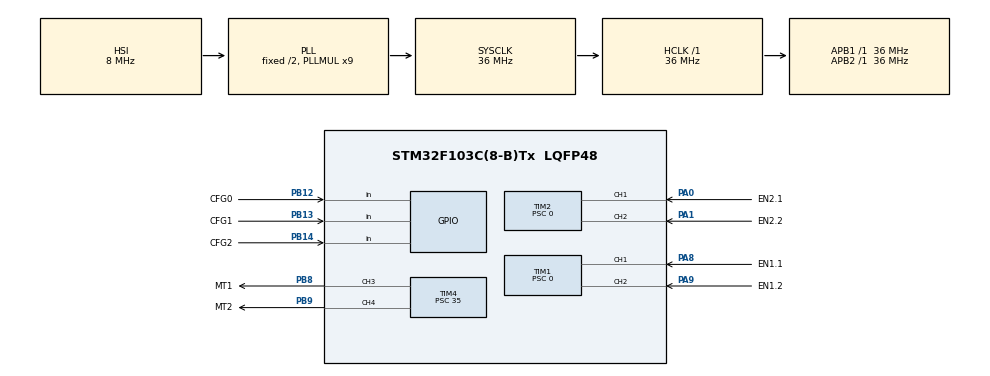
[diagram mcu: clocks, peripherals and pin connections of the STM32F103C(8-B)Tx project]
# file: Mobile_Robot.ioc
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Mcu.Family=STM32F1
Mcu.Name=STM32F103C(8-B)Tx
Mcu.Package=LQFP48
NVIC.PriorityGroup=NVIC_PRIORITYGROUP_4
PA0-WKUP.GPIO_Label=EN2.1
PA0-WKUP.GPIO_PuPd=GPIO_PULLUP
PA0-WKUP.Signal=S_TIM2_CH1_ETR
PA1.GPIO_Label=EN2.2
PA1.GPIO_PuPd=GPIO_PULLUP
PA1.Signal=S_TIM2_CH2
PA13.Mode=Serial_Wire
PA13.Signal=SYS_JTMS-SWDIO
PA14.Mode=Serial_Wire
PA14.Signal=SYS_JTCK-SWCLK
PA8.GPIO_Label=EN1.1
PA8.GPIO_PuPd=GPIO_PULLUP
PA8.Signal=S_TIM1_CH1
PA9.GPIO_Label=EN1.2
PA9.GPIO_PuPd=GPIO_PULLUP
PA9.Signal=S_TIM1_CH2
PB12.GPIO_Label=CFG0
PB12.Signal=GPIO_Input
PB13.GPIO_Label=CFG1
PB13.Signal=GPIO_Input
PB14.GPIO_Label=CFG2
PB14.Signal=GPIO_Input
PB8.GPIO_Label=MT1
PB8.GPIO_Speed=GPIO_SPEED_FREQ_MEDIUM
PB8.Signal=S_TIM4_CH3
PB9.GPIO_Label=MT2
PB9.GPIO_Speed=GPIO_SPEED_FREQ_MEDIUM
PB9.Signal=S_TIM4_CH4
PD0-OSC_IN.Mode=HSE-External-Oscillator
PD0-OSC_IN.Signal=RCC_OSC_IN
PD1-OSC_OUT.Mode=HSE-External-Oscillator
PD1-OSC_OUT.Signal=RCC_OSC_OUT
ProjectManager.HeapSize=0x200
ProjectManager.StackSize=0x400
ProjectManager.TargetToolchain=STM32CubeIDE
RCC.AHBFreq_Value=36000000
RCC.APB1Freq_Value=36000000
RCC.APB1TimFreq_Value=36000000
RCC.APB2Freq_Value=36000000
RCC.APB2TimFreq_Value=36000000
RCC.HCLKFreq_Value=36000000
RCC.PLLMUL=RCC_PLL_MUL9
RCC.SYSCLKFreq_VALUE=36000000
RCC.SYSCLKSource=RCC_SYSCLKSOURCE_PLLCLK
RCC.USBFreq_Value=36000000
SH.S_TIM1_CH1.0=TIM1_CH1,Encoder_Interface
SH.S_TIM1_CH2.0=TIM1_CH2,Encoder_Interface
SH.S_TIM2_CH1_ETR.0=TIM2_CH1,Encoder_Interface
SH.S_TIM2_CH2.0=TIM2_CH2,Encoder_Interface
SH.S_TIM4_CH3.0=TIM4_CH3,PWM Generation3 CH3
SH.S_TIM4_CH4.0=TIM4_CH4,PWM Generation4 CH4
TIM1.CounterMode=TIM_COUNTERMODE_UP
TIM1.EncoderMode=TIM_ENCODERMODE_TI12
TIM1.IC1Polarity=TIM_ICPOLARITY_RISING
TIM1.IC2Polarity=TIM_ICPOLARITY_RISING
TIM1.Period=65535
TIM1.Prescaler=0
TIM2.EncoderMode=TIM_ENCODERMODE_TI12
TIM2.Period=65535
TIM2.Prescaler=0
TIM4.Channel-PWM\ Generation3\ CH3=TIM_CHANNEL_3
TIM4.Channel-PWM\ Generation4\ CH4=TIM_CHANNEL_4
TIM4.Period=999
TIM4.Prescaler=35
VP_TIM4_VS_ClockSourceINT.Mode=Internal
board=custom

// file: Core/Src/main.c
/* USER CODE BEGIN Header */
/**
  ******************************************************************************
  * @file           : main.c
  * @brief          : Main program body
  ******************************************************************************
  * @attention
  *
  * Copyright (c) 2023 STMicroelectronics.
  * All rights reserved.
  *
  * This software is licensed under terms that can be found in the LICENSE file
  * in the root directory of this software component.
  * If no LICENSE file comes with this software, it is provided AS-IS.
  *
  ******************************************************************************
  */
/* USER CODE END Header */
#include "main.h"

/* USER CODE BEGIN Includes */
#include "matrices_op2.h"
#include <main_operation2.h>
#include <stdio.h>
#include <stdlib.h>
#include <string.h>
/* USER CODE END Includes */

TIM_HandleTypeDef htim1;
TIM_HandleTypeDef htim2;
TIM_HandleTypeDef htim4;

void SystemClock_Config(void);
static void MX_GPIO_Init(void);
static void MX_TIM1_Init(void);
static void MX_TIM2_Init(void);
static void MX_TIM4_Init(void);

/* USER CODE BEGIN 0 */

	double x = 0;
	double y = 0;
	double theta = 0;
	double left_angular_velocity = 0;
	double right_angular_velocity = 0;

	double x_r = 0;
	double y_r = 0;
	double theta_r = 0;
	double v_r = 0.2;
	double w_r = 0.2;

	double e_x;
	double e_y;
	double e_theta;

	double voltage_left = 0;
	double voltage_right = 0;

	volatile double encoder_cnt1 = 0;
	volatile double encoder_cnt2 = 0;

	// test
	double t1 = 0;
	double t2 = 0;
	double encoder_test_1 = 0;
	double encoder_test_2 = 0;

	volatile double encoder1_previous = 0;
	volatile double encoder2_previous = 0;

	double present_time = 0;
	double sample_time = 100;
	double rate = 10 * 6.28; // = 1000/sample_time
//	double rate = 100;

	uint16_t duty_cycle1 = 0; // for motor left
	uint16_t duty_cycle2 = 0; // for motor right duty + 140 = duty 1 (v1 = v2)

	double sampling_interval = 10e-10 ;

	//Vehicle parameters
    double I = 0.0315;
	double r = 0.0325;
	double R = 0.091;
	double d = 0.037;
	double m = 0.927;

	//Motor parameters
	double k_phi = 9.76e-3;
	double R_a = 4.35;

	double number = 0;

	void pulse_modulation(uint16_t *duty_cycle1, uint16_t *duty_cycle2) {
		__HAL_TIM_SET_COMPARE(&htim4, TIM_CHANNEL_3, *duty_cycle1); // left
		__HAL_TIM_SET_COMPARE(&htim4, TIM_CHANNEL_4, *duty_cycle2); // right
	}

	void convert_v_to_pwm(uint16_t *duty_cycle1, uint16_t *duty_cycle2, double voltage_left, double voltage_right) {
		*duty_cycle1 = (int)((voltage_left / 12) * 1000);
		*duty_cycle2 = (int)((voltage_right / 12) * 1000);
	}

/* USER CODE END 0 */

int main(void)
{

  /* MCU Configuration--------------------------------------------------------*/

  /* Reset of all peripherals, Initializes the Flash interface and the Systick. */
  HAL_Init();

  /* USER CODE BEGIN Init */

      //Controller parameters
      matrix K;
      allocate_matrix(&K, 3 ,1);
      K.index[0][0] = 1;
      K.index[1][0] = 1;
      K.index[2][0] = 1;

      matrix K_4;
      allocate_matrix(&K_4, 2, 2);
      K_4.index[0][0] = 1;
      K_4.index[1][1] = 1;
      //.

      matrix v;
      allocate_matrix(&v, 2, 1);

      matrix v_c;
      allocate_matrix(&v_c, 2, 1);

      matrix v_c_old;
      allocate_matrix(&v_c_old, 2, 1);

      matrix u;
      allocate_matrix(&u, 2, 1);

      matrix tau;
      allocate_matrix(&tau, 2, 1);

      virtual_control(&v_c_old, &K, &v_c, e_x, e_y, e_theta, v_r, w_r);
  /* USER CODE END Init */

  /* Configure the system clock */
  SystemClock_Config();

  /* Initialize all configured peripherals */
  MX_GPIO_Init();
  MX_TIM1_Init();
  MX_TIM2_Init();
  MX_TIM4_Init();
  /* USER CODE BEGIN 2 */

  // Motor left
  HAL_TIM_PWM_Start(&htim4, TIM_CHANNEL_3);
  HAL_TIM_Encoder_Start(&htim1, TIM_CHANNEL_2 | TIM_CHANNEL_1);
  // Motor right
  HAL_TIM_PWM_Start(&htim4, TIM_CHANNEL_4);
  HAL_TIM_Encoder_Start(&htim2, TIM_CHANNEL_1 | TIM_CHANNEL_2);

  /* USER CODE END 2 */

  /* Infinite loop */
  /* USER CODE BEGIN WHILE */
  	  present_time = HAL_GetTick();
  while (1)
  {
	  encoder_cnt1 = __HAL_TIM_GET_COUNTER(&htim1);
	  double a = encoder_cnt1;
	  encoder_cnt2 = __HAL_TIM_GET_COUNTER(&htim2);
	  double b = encoder_cnt2;

	  if(HAL_GetTick() - present_time > sample_time) {
		  	if(encoder_cnt1 - encoder1_previous < 0) {
		  		left_angular_velocity = ((encoder_cnt1 - encoder1_previous + 65535) / 1320) * rate;
		  	}
		  	else {
		  		left_angular_velocity = ((encoder_cnt1 - encoder1_previous) / 1320) * rate;
		  	}

		  	if(encoder_cnt2 - encoder2_previous < 0) {
		  		right_angular_velocity = ((encoder_cnt1 - encoder1_previous + 65535) / 1320) * rate;
		  	}
		  	else {
		  		right_angular_velocity = ((encoder_cnt2 - encoder2_previous) / 1320) * rate;
		  	}

		  	encoder_test_1 = encoder_cnt1 - encoder1_previous;
		  	encoder_test_2 = encoder_cnt2 - encoder2_previous;
		  	encoder1_previous = encoder_cnt1;
		  	encoder2_previous = encoder_cnt2;

	  		velocity(&v, left_angular_velocity, right_angular_velocity);
	  		error(x, y, theta, x_r, y_r, theta_r, &e_x, &e_y, &e_theta);
	  		virtual_control(&v_c, &K, &v_c_old, e_x, e_y, e_theta, v_r, w_r);
	  		control_signal(&u, &v_c, &v_c, &v, &K_4);
	  		torque(theta, &v, &u, &tau);
	  		voltage(&voltage_left, &voltage_right, left_angular_velocity, right_angular_velocity, &tau);
	  		next_state(&v, &x, &y, &theta, &x_r, &y_r, &theta_r, w_r, v_r);
	  		convert_v_to_pwm(&duty_cycle1, &duty_cycle2, voltage_left, voltage_right);
	  		pulse_modulation(&duty_cycle1, &duty_cycle2);
//
//	  		pulse_modulation_test();
	  		present_time = HAL_GetTick();
	  	}

    /* USER CODE END WHILE */

  }
}

void SystemClock_Config(void)
{
  RCC_OscInitTypeDef RCC_OscInitStruct = {0};
  RCC_ClkInitTypeDef RCC_ClkInitStruct = {0};

  /** Initializes the RCC Oscillators according to the specified parameters
  * in the RCC_OscInitTypeDef structure.
  */
  RCC_OscInitStruct.OscillatorType = RCC_OSCILLATORTYPE_HSI;
  RCC_OscInitStruct.HSIState = RCC_HSI_ON;
  RCC_OscInitStruct.HSICalibrationValue = RCC_HSICALIBRATION_DEFAULT;
  RCC_OscInitStruct.PLL.PLLState = RCC_PLL_ON;
  RCC_OscInitStruct.PLL.PLLSource = RCC_PLLSOURCE_HSI_DIV2;
  RCC_OscInitStruct.PLL.PLLMUL = RCC_PLL_MUL9;
  if (HAL_RCC_OscConfig(&RCC_OscInitStruct) != HAL_OK)
  {
    Error_Handler();
  }

  /** Initializes the CPU, AHB and APB buses clocks
  */
  RCC_ClkInitStruct.ClockType = RCC_CLOCKTYPE_HCLK|RCC_CLOCKTYPE_SYSCLK
                              |RCC_CLOCKTYPE_PCLK1|RCC_CLOCKTYPE_PCLK2;
  RCC_ClkInitStruct.SYSCLKSource = RCC_SYSCLKSOURCE_PLLCLK;
  RCC_ClkInitStruct.AHBCLKDivider = RCC_SYSCLK_DIV1;
  RCC_ClkInitStruct.APB1CLKDivider = RCC_HCLK_DIV1;
  RCC_ClkInitStruct.APB2CLKDivider = RCC_HCLK_DIV1;

  if (HAL_RCC_ClockConfig(&RCC_ClkInitStruct, FLASH_LATENCY_1) != HAL_OK)
  {
    Error_Handler();
  }
}

static void MX_TIM1_Init(void)
{

  TIM_Encoder_InitTypeDef sConfig = {0};
  TIM_MasterConfigTypeDef sMasterConfig = {0};

  htim1.Instance = TIM1;
  htim1.Init.Prescaler = 0;
  htim1.Init.CounterMode = TIM_COUNTERMODE_UP;
  htim1.Init.Period = 65535;
  htim1.Init.ClockDivision = TIM_CLOCKDIVISION_DIV1;
  htim1.Init.RepetitionCounter = 0;
  htim1.Init.AutoReloadPreload = TIM_AUTORELOAD_PRELOAD_DISABLE;
  sConfig.EncoderMode = TIM_ENCODERMODE_TI12;
  sConfig.IC1Polarity = TIM_ICPOLARITY_RISING;
  sConfig.IC1Selection = TIM_ICSELECTION_DIRECTTI;
  sConfig.IC1Prescaler = TIM_ICPSC_DIV1;
  sConfig.IC1Filter = 0;
  sConfig.IC2Polarity = TIM_ICPOLARITY_RISING;
  sConfig.IC2Selection = TIM_ICSELECTION_DIRECTTI;
  sConfig.IC2Prescaler = TIM_ICPSC_DIV1;
  sConfig.IC2Filter = 0;
  if (HAL_TIM_Encoder_Init(&htim1, &sConfig) != HAL_OK)
  {
    Error_Handler();
  }
  sMasterConfig.MasterOutputTrigger = TIM_TRGO_RESET;
  sMasterConfig.MasterSlaveMode = TIM_MASTERSLAVEMODE_DISABLE;
  if (HAL_TIMEx_MasterConfigSynchronization(&htim1, &sMasterConfig) != HAL_OK)
  {
    Error_Handler();
  }

}

static void MX_TIM2_Init(void)
{

  TIM_Encoder_InitTypeDef sConfig = {0};
  TIM_MasterConfigTypeDef sMasterConfig = {0};

  htim2.Instance = TIM2;
  htim2.Init.Prescaler = 0;
  htim2.Init.CounterMode = TIM_COUNTERMODE_UP;
  htim2.Init.Period = 65535;
  htim2.Init.ClockDivision = TIM_CLOCKDIVISION_DIV1;
  htim2.Init.AutoReloadPreload = TIM_AUTORELOAD_PRELOAD_DISABLE;
  sConfig.EncoderMode = TIM_ENCODERMODE_TI12;
  sConfig.IC1Polarity = TIM_ICPOLARITY_RISING;
  sConfig.IC1Selection = TIM_ICSELECTION_DIRECTTI;
  sConfig.IC1Prescaler = TIM_ICPSC_DIV1;
  sConfig.IC1Filter = 0;
  sConfig.IC2Polarity = TIM_ICPOLARITY_RISING;
  sConfig.IC2Selection = TIM_ICSELECTION_DIRECTTI;
  sConfig.IC2Prescaler = TIM_ICPSC_DIV1;
  sConfig.IC2Filter = 0;
  if (HAL_TIM_Encoder_Init(&htim2, &sConfig) != HAL_OK)
  {
    Error_Handler();
  }
  sMasterConfig.MasterOutputTrigger = TIM_TRGO_RESET;
  sMasterConfig.MasterSlaveMode = TIM_MASTERSLAVEMODE_DISABLE;
  if (HAL_TIMEx_MasterConfigSynchronization(&htim2, &sMasterConfig) != HAL_OK)
  {
    Error_Handler();
  }

}

static void MX_TIM4_Init(void)
{

  TIM_ClockConfigTypeDef sClockSourceConfig = {0};
  TIM_MasterConfigTypeDef sMasterConfig = {0};
  TIM_OC_InitTypeDef sConfigOC = {0};

  htim4.Instance = TIM4;
  htim4.Init.Prescaler = 35;
  htim4.Init.CounterMode = TIM_COUNTERMODE_UP;
  htim4.Init.Period = 999;
  htim4.Init.ClockDivision = TIM_CLOCKDIVISION_DIV1;
  htim4.Init.AutoReloadPreload = TIM_AUTORELOAD_PRELOAD_DISABLE;
  if (HAL_TIM_Base_Init(&htim4) != HAL_OK)
  {
    Error_Handler();
  }
  sClockSourceConfig.ClockSource = TIM_CLOCKSOURCE_INTERNAL;
  if (HAL_TIM_ConfigClockSource(&htim4, &sClockSourceConfig) != HAL_OK)
  {
    Error_Handler();
  }
  if (HAL_TIM_PWM_Init(&htim4) != HAL_OK)
  {
    Error_Handler();
  }
  sMasterConfig.MasterOutputTrigger = TIM_TRGO_RESET;
  sMasterConfig.MasterSlaveMode = TIM_MASTERSLAVEMODE_DISABLE;
  if (HAL_TIMEx_MasterConfigSynchronization(&htim4, &sMasterConfig) != HAL_OK)
  {
    Error_Handler();
  }
  sConfigOC.OCMode = TIM_OCMODE_PWM1;
  sConfigOC.Pulse = 0;
  sConfigOC.OCPolarity = TIM_OCPOLARITY_HIGH;
  sConfigOC.OCFastMode = TIM_OCFAST_DISABLE;
  if (HAL_TIM_PWM_ConfigChannel(&htim4, &sConfigOC, TIM_CHANNEL_3) != HAL_OK)
  {
    Error_Handler();
  }
  if (HAL_TIM_PWM_ConfigChannel(&htim4, &sConfigOC, TIM_CHANNEL_4) != HAL_OK)
  {
    Error_Handler();
  }
  HAL_TIM_MspPostInit(&htim4);

}

static void MX_GPIO_Init(void)
{
  GPIO_InitTypeDef GPIO_InitStruct = {0};

  /* GPIO Ports Clock Enable */
  __HAL_RCC_GPIOD_CLK_ENABLE();
  __HAL_RCC_GPIOA_CLK_ENABLE();
  __HAL_RCC_GPIOB_CLK_ENABLE();

  /*Configure GPIO pins : CFG0_Pin CFG1_Pin CFG2_Pin */
  GPIO_InitStruct.Pin = CFG0_Pin|CFG1_Pin|CFG2_Pin;
  GPIO_InitStruct.Mode = GPIO_MODE_INPUT;
  GPIO_InitStruct.Pull = GPIO_NOPULL;
  HAL_GPIO_Init(GPIOB, &GPIO_InitStruct);

}

void Error_Handler(void)
{
  __disable_irq();
  while (1)
  {
  }
}
